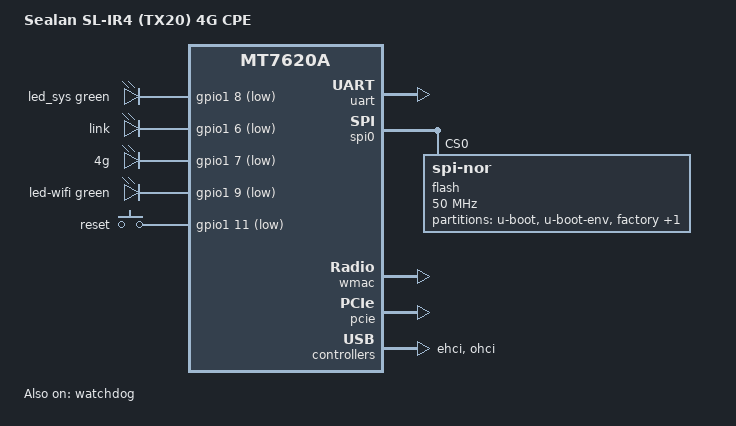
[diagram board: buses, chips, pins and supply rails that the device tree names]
// SPDX-License-Identifier: GPL-2.0-or-later OR MIT
// 板级描述：Sealan SL-IR4 / TX20（MT7620A + 16MB SPI-NOR，DDR2）
// 1 LAN + 1 WAN，仅 2.4G，4 颗指示灯（上排 WIFI/4G，下排 SYS/LINK），SIM 卡槽，1 个 reset 键
//
// 【内存刻意不声明 memory 节点】
// 不声明 memory 时沿用目标默认 64MB（已验证能稳定启动）。
//
// 【rootfs_data 由 mtdsplit 自切】
// 原厂 jffs2 仍留在 0xB10000。
//
// 实测确认的板级参数：
//   分区：u-boot 0x00000 +0x30000 / u-boot-env 0x30000 +0x10000 / factory 0x40000 +0x10000
//         firmware 0x50000 +0xAC0000
//   内核 cmdline：console=ttyS1,57600n8
//   网口：lan_port=0、wan_port=4 → mediatek,portmap = "llllw"
//   灯：GPIO30=LINK  GPIO31=4G  GPIO32=SYS  GPIO33=WIFI
//   按键：reset GPIO35

/dts-v1/;

#include "mt7620a.dtsi"
#include <dt-bindings/gpio/gpio.h>
#include <dt-bindings/input/input.h>
#include <dt-bindings/leds/common.h>

/ {
	compatible = "generic,7620a-cpe-16m", "ralink,mt7620a-soc";
	model = "Sealan SL-IR4 (TX20) 4G CPE";

	aliases {
		led-boot = &led_sys;
		led-failsafe = &led_sys;
		led-running = &led_sys;
		led-upgrade = &led_sys;
	};

	chosen {
		bootargs = "console=ttyS1,57600n8";
	};

	/*
	 * ramoops：死前日志寄存在 DDR 里，热复位不会丢。
	 * 64MB DDR 的顶部 256KB（0x3F00000~0x3F3FFFF）预留给我自己用。
	 * 复位后把 /sys/fs/pstore/ 挂起来读，就能看到崩溃/看门狗触发前的内核输出。
	 */
	reserved-memory {
		#address-cells = <1>;
		#size-cells = <1>;
		ranges;

		ramoops@3f00000 {
			compatible = "ramoops";
			reg = <0x3f00000 0x40000>;
			record-size = <0x10000>;
			console-size = <0x20000>;
			pmsg-size = <0x10000>;
		};
	};

	leds {
		compatible = "gpio-leds";

		/* GPIO32：原厂 /etc/diag.sh status_led = 32 → 面板 SYS */
		led_sys: led-sys {
			function = LED_FUNCTION_POWER;
			color = <LED_COLOR_ID_GREEN>;
			gpios = <&gpio1 8 GPIO_ACTIVE_LOW>;
			default-state = "on";
		};

		/* GPIO30：原厂 eth_led.sh wan_lan_led_num = 30 → 面板 LINK */
		led-link {
			label = "link";
			gpios = <&gpio1 6 GPIO_ACTIVE_LOW>;
			linux,default-trigger = "netdev";
		};

		/* GPIO31：实测点亮 4G 灯 */
		led-4g {
			label = "4g";
			gpios = <&gpio1 7 GPIO_ACTIVE_LOW>;
			default-state = "off";
		};

		/* GPIO33：原厂 ipsec.sh / vpn.sh 用 sealed 33 控制 → 面板 WIFI */
		led-wifi {
			function = LED_FUNCTION_WLAN;
			color = <LED_COLOR_ID_GREEN>;
			gpios = <&gpio1 9 GPIO_ACTIVE_LOW>;
			linux,default-trigger = "phy0tpt";
		};
	};

	keys {
		compatible = "gpio-keys";

		/* GPIO35：原厂 btnd reset 35 */
		reset {
			label = "reset";
			gpios = <&gpio1 11 GPIO_ACTIVE_LOW>;
			linux,code = <KEY_RESTART>;
		};
	};
};

&gpio1 {
	status = "okay";
};

/* 板载 RS232（ADM3202）；原厂内核即 console=ttyS1,57600n8 */
&uart {
	status = "okay";
};

&spi0 {
	status = "okay";

	flash@0 {
		compatible = "jedec,spi-nor";
		reg = <0>;
		spi-max-frequency = <50000000>;

		partitions {
			compatible = "fixed-partitions";
			#address-cells = <1>;
			#size-cells = <1>;

			partition@0 {
				label = "u-boot";
				reg = <0x0 0x30000>;
				read-only;
			};

			partition@30000 {
				label = "u-boot-env";
				reg = <0x30000 0x10000>;
				read-only;
			};

			partition@40000 {
				label = "factory";
				reg = <0x40000 0x10000>;
				read-only;

				nvmem-layout {
					compatible = "fixed-layout";
					#address-cells = <1>;
					#size-cells = <1>;

					eeprom_factory_0: eeprom@0 {
						reg = <0x0 0x200>;
					};

					macaddr_factory_4: macaddr@4 {
						reg = <0x4 0x6>;
					};
				};
			};

			partition@50000 {
				compatible = "denx,uimage";
				label = "firmware";
				reg = <0x50000 0xac0000>;
			};
		};
	};
};

&ethernet {
	nvmem-cells = <&macaddr_factory_4>;
	nvmem-cell-names = "mac-address";
	/* 原厂：port0 = LAN，port4 = WAN */
	mediatek,portmap = "llllw";
};

&wmac {
	nvmem-cells = <&eeprom_factory_0>;
	nvmem-cell-names = "eeprom";
};

/*
 * 只把确实被当作 GPIO 用的引脚组放开：
 * LED(30-33) 落在 rgmii1 / wled 复用区，reset(35) 与 link 灯同组；
 * 不放开 uartf —— 串口控制台要留在 UART0 上。
 */
&state_default {
	gpio {
		groups = "i2c", "wled", "rgmii1", "rgmii2";
		function = "gpio";
	};
};

&pcie {
	status = "okay";
};

&ehci {
	status = "okay";
};

&ohci {
	status = "okay";
};

/*
 * 硬件看门狗：保持 okay，由 procd 句柄持有。
 *
 * 实测结论（2026-11-21）：
 *   /dev/watchdog 被 procd(pid 1) 持有，用户态再 open 返回 EBUSY；
 *   /sys/class/watchdog/watchdog0 = timeout 30 / max 107 / state active；
 *   若“喂狗无效”则应在 77 秒复位，但实测死点仍是 ~174.5 秒，
 *   且 SYSC_RSTSTAT=c0030000 的 WDT_RST_CAUSE(bit1) 未置位。
 *   → 复位不来自 TMR1 看门狗。
 *
 * 174.4 秒 ≈ 0x1A000 × 65536 / 40MHz，像一个独立计数器数到封顶。
 * 本版保留 okay，并把 TMR 块寄存器序列每 5 秒写进 flash，用来抓那个计数器。
 */
&watchdog {
	status = "okay";
};
